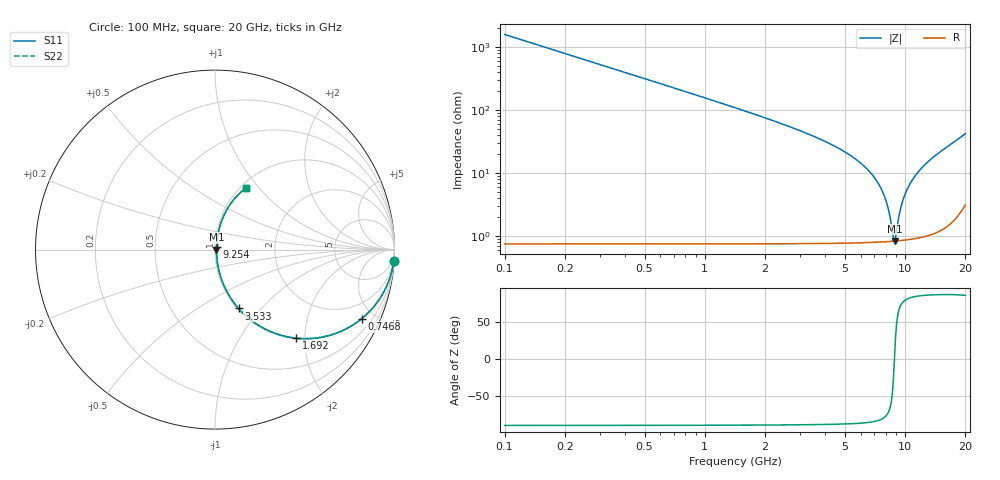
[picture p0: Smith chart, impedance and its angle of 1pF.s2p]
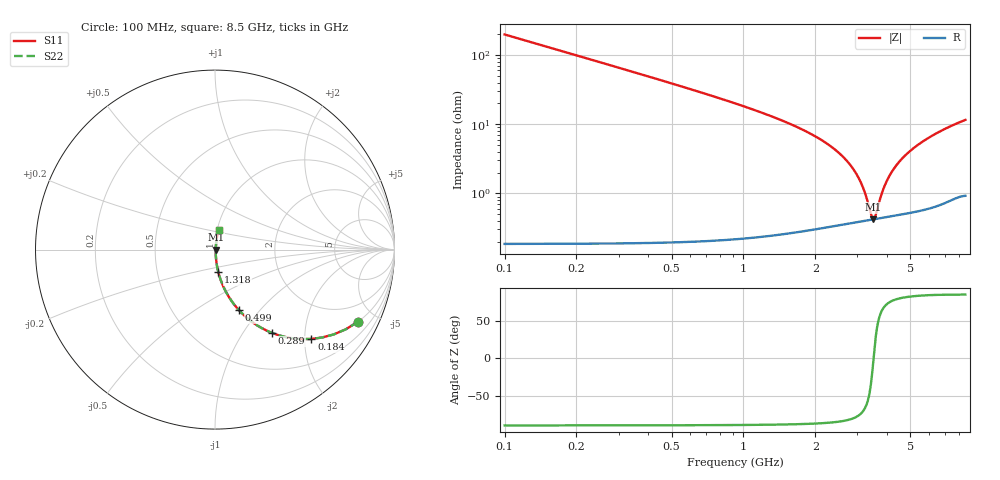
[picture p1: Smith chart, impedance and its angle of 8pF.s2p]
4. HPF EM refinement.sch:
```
<Qucs Schematic 24.2.1>
<Properties>
  <View=-260,-75,1694,1055,1.16613,688,141>
  <Grid=10,10,1>
  <DataSet=4. HPF EM refinement.dat>
  <DataDisplay=4. HPF EM refinement.dpl>
  <OpenDisplay=0>
  <Script=1. Ideal Lumped Components.m>
  <RunScript=0>
  <showFrame=3>
  <FrameText0=Lumped HPF 2 GHz>
  <FrameText1=Drawn By: Andrés Martínez Mera>
  <FrameText2=Date: 01/04/2024>
  <FrameText3=Revision:>
</Properties>
<Symbol>
</Symbol>
<Components>
  <SUBST RO4003C 1 330 790 -30 24 0 0 "3.55" 1 "508um" 1 "32um" 1 "0.027" 1 "1e-10" 1 "0" 1>
  <GND * 1 570 100 0 0 0 0>
  <Sub Line3 5 520 90 -10 -66 0 0 "CapLine.sch" 0>
  <GND * 1 470 100 0 0 0 0>
  <SPfile X2 5 470 70 -26 -19 0 0 "./Capacitors/1pF.s2p" 0 "rectangular" 0 "linear" 0 "open" 0 "2" 0>
  <Sub L3n5 1 440 320 64 -120 0 1 "L1.sch" 0>
  <SPfile X7 5 420 370 20 -26 0 3 "./Capacitors/8pF.s2p" 0 "rectangular" 0 "linear" 0 "open" 0 "2" 0>
  <GND * 1 390 480 0 0 0 3>
  <Sub Line7 5 440 420 -66 -10 0 1 "CapLine.sch" 0>
  <Sub GND1 1 360 670 0 4 0 0 "Ground.sch" 0>
  <.SP SP1 1 80 770 0 70 0 0 "lin" 1 "100MHz" 1 "5GHz" 1 "201" 1 "no" 0 "1" 0 "2" 0 "no" 0 "no" 0>
  <Eqn Eqn1 1 110 640 -28 15 0 0 "dBS21=dB(S[2,1])" 1 "dBS11=dB(S[1,1])" 1 "yes" 0>
  <Sub Line1 1 80 90 -10 -66 0 0 "Line.sch" 0>
  <GND * 1 250 100 0 0 0 0>
  <SPfile X1 5 250 70 -26 -19 0 0 "./Capacitors/2p2.s2p" 0 "rectangular" 0 "linear" 0 "open" 0 "2" 0>
  <GND * 1 350 100 0 0 0 0>
  <Sub Line2 5 300 90 -10 -66 0 0 "CapLine.sch" 0>
  <Pac P1 1 60 170 18 -26 0 1 "1" 1 "50 Ohm" 1 "0 dBm" 0 "1 GHz" 0 "26.85" 0 "true" 0>
  <GND * 1 60 200 0 0 0 0>
  <MTEE MS1 5 420 70 -26 -105 0 0 "RO4003C" 0 "0.2 mm" 0 "0.2 mm" 0 "0.2 mm" 0 "Hammerstad" 0 "Kirschning" 0 "26.85" 0 "showNumbers" 0>
  <MTEE MS2 5 630 70 -26 -105 0 0 "RO4003C" 0 "0.2 mm" 0 "0.2 mm" 0 "0.2 mm" 0 "Hammerstad" 0 "Kirschning" 0 "26.85" 0 "showNumbers" 0>
  <GND * 1 810 100 0 0 0 0>
  <GND * 1 690 100 0 0 0 0>
  <SPfile X5 5 690 70 -26 -19 0 0 "./Capacitors/3p3.s2p" 0 "rectangular" 0 "linear" 0 "open" 0 "2" 0>
  <Sub Line4 5 750 90 -10 -66 0 0 "CapLine.sch" 0>
  <Sub Line5 1 880 90 -10 -66 0 0 "Line.sch" 0>
  <Pac P2 1 1060 130 18 -26 0 1 "2" 1 "50 Ohm" 1 "0 dBm" 0 "1 GHz" 0 "26.85" 0 "true" 0>
  <GND * 1 1060 160 0 0 0 0>
  <GND * 1 600 360 0 0 0 3>
  <SPfile X8 5 630 360 20 -26 0 3 "./Capacitors/3p3.s2p" 0 "rectangular" 0 "linear" 0 "open" 0 "2" 0>
  <GND * 1 600 490 0 0 0 3>
  <Sub Line6 5 650 430 -66 -10 0 1 "CapLine.sch" 0>
  <Sub L5n5 1 650 310 64 -120 0 1 "L2.sch" 0>
  <Pac P3 1 520 910 18 -26 0 1 "3" 1 "50 Ohm" 1 "0 dBm" 0 "1 GHz" 0 "26.85" 0 "true" 0>
  <GND * 1 520 940 0 0 0 0>
  <Pac P4 1 880 910 18 -26 0 1 "4" 1 "50 Ohm" 1 "0 dBm" 0 "1 GHz" 0 "26.85" 0 "true" 0>
  <GND * 1 880 940 0 0 0 0>
  <Eqn Eqn2 1 1020 840 -28 15 0 0 "dBS21_Ideal=dB(S[4,3])" 1 "dBS11_Ideal=dB(S[3,3])" 1 "yes" 0>
  <SPfile X9 5 630 490 20 -26 0 3 "./Capacitors/5pF.s2p" 0 "rectangular" 0 "linear" 0 "open" 0 "2" 0>
  <SPfile X10 5 570 70 -26 -19 0 0 "./Capacitors/100pF.s2p" 0 "rectangular" 0 "linear" 0 "open" 0 "2" 0>
  <SPfile X4 5 350 70 -26 -19 0 0 "./Capacitors/5pF.s2p" 0 "rectangular" 0 "linear" 0 "open" 0 "2" 0>
  <SPfile X6 5 810 70 -26 -19 0 0 "./Capacitors/10pF.s2p" 0 "rectangular" 0 "linear" 0 "open" 0 "2" 0>
  <SPfile X11 5 420 480 20 -26 0 3 "./Capacitors/15pF.s2p" 0 "rectangular" 0 "linear" 0 "open" 0 "2" 0>
  <GND * 1 390 370 0 0 0 3>
  <Sub HPF_2GHz_Ideal 1 640 880 -1 -154 0 0 "Ideal_HPF.sch" 0>
</Components>
<Wires>
  <420 100 420 130 "" 0 0 0 "">
  <440 70 450 70 "" 0 0 0 "">
  <380 70 390 70 "" 0 0 0 "">
  <60 70 60 140 "" 0 0 0 "">
  <720 70 730 70 "" 0 0 0 "">
  <1060 70 1060 100 "" 0 0 0 "">
  <1020 70 1060 70 "" 0 0 0 "">
  <630 100 630 120 "" 0 0 0 "">
  <630 390 630 410 "" 0 0 0 "">
  <620 520 630 520 "" 0 0 0 "">
  <630 450 630 460 "" 0 0 0 "">
  <840 70 860 70 "" 0 0 0 "">
  <770 70 780 70 "" 0 0 0 "">
  <420 510 420 520 "" 0 0 0 "">
  <420 440 420 450 "" 0 0 0 "">
  <880 820 880 880 "" 0 0 0 "">
  <780 820 880 820 "" 0 0 0 "">
  <520 820 520 880 "" 0 0 0 "">
  <520 820 610 820 "" 0 0 0 "">
</Wires>
<Diagrams>
  <Rect 880 610 507 346 3 #c0c0c0 1 00 1 0 5e+08 5e+09 0 -50 5 0 1 -1 0.5 1 315 0 225 1 0 0 "" "" "">
	<"dBS11" #0000ff 0 3 0 0 0>
	<"dBS21" #ff0000 0 3 0 0 0>
	  <Mkr 1.9865e+09 239 -311 3 0 0>
	  <Mkr 4.02e+09 385 -314 3 0 0>
	<"dBS21_Ideal" #000000 0 3 0 0 0>
  </Rect>
</Diagrams>
<Paintings>
  <Text 551 33 12 #000000 0 "100 pF">
  <Text 451 33 12 #000000 0 "1 pF">
  <Text 450 360 12 #000000 0 "8 pF">
  <Text 441 473 12 #000000 0 "15 pF">
  <Text 230 30 12 #000000 0 "2.2 pF">
  <Text 790 30 12 #000000 0 "10 pF">
  <Text 670 30 12 #000000 0 "3.3 pF">
  <Text 670 480 12 #000000 0 "5 pF">
  <Text 670 350 12 #000000 0 "3.3 pF">
  <Text 330 30 12 #000000 0 "5 pF">
  <Rectangle 300 340 200 190 #000000 3 2 #c0c0c0 1 0>
  <Rectangle 570 340 170 200 #000000 3 2 #c0c0c0 1 0>
  <Text 650 420 12 #000000 0 "C_{eq} = 2 pF">
  <Text 320 410 12 #000000 0 "C_{eq} = 5.2 pF">
</Paintings>
```
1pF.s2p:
!Murata Part Number: GRM0335C1E1R0WA01
!These Parameters are Measured in Series Mode Connection
!  o--ll--o
!Port1  Port2
!  o------o
!Operation Temp=25[degC], DC Bias Voltage=0[V]
!Freq. Start=100[MHz] Stop=20[GHz], 401[Steps]
!Data Generated on Jan 10, 2017
# Hz S RI R 50
!Freq.(Hz) S11(Real) S11(Imag) S21(Real) S21(Imag) S12(Real) S12(Imag) S22(Real) S22(Imag)
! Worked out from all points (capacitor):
!   401 points, 100 MHz to 20 GHz, reference 50 ohm
!   read as one part in series: C = 1 pF near 199.5 MHz
!   lowest |Z| = 840 mohm at 8.856 GHz (marker M1)
!   series resonance near 8.845 GHz, so ESL is about 320 pH
!   S11 on the Smith chart (normalised r, x): 100 MHz: 1, -32; 746.8 MHz: 1.02, -4.23; 1.692 GHz: 1.02, -1.81; 3.533 GHz: 1.02, -0.76; 9.254 GHz: 1.02, +0.03; 20 GHz: 1.06, +0.85
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1e8  0.996 -0.0626  0.00396 0.0626  0.00396 0.0626  0.996 -0.0626
3.985e8  0.9404 -0.2358  0.0596 0.2358  0.0596 0.2358  0.9404 -0.2358
7.4675e8  0.8166 -0.3852  0.1834 0.3852  0.1834 0.3852  0.8166 -0.3852
1.692e9  0.4518 -0.4935  0.5482 0.4935  0.5482 0.4935  0.4518 -0.4935
3.53275e9  0.1312 -0.3277  0.8688 0.3277  0.8688 0.3277  0.1312 -0.3277
7.264e9  0.0131 -0.071  0.9869 0.071  0.9869 0.071  0.0131 -0.071
8.856e9  0.00832 0.000444  0.9917 -0.000444  0.9917 -0.000444  0.00832 0.000444
9.254e9  0.0087 0.0165  0.9913 -0.0165  0.9913 -0.0165  0.0087 0.0165
1.005e10  0.0109 0.0468  0.9891 -0.0468  0.9891 -0.0468  0.0109 0.0468
1.318425e10  0.0339 0.1511  0.9661 -0.1511  0.9661 -0.1511  0.0339 0.1511
2e10  0.1715 0.3418  0.8285 -0.3418  0.8285 -0.3418  0.1715 0.3418
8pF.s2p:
!Murata Part Number: GRM0335C1E8R0CA01
!These Parameters are Measured in Series Mode Connection
!  o--ll--o
!Port1  Port2
!  o------o
!Operation Temp=25[degC], DC Bias Voltage=0[V]
!Freq. Start=100[MHz] Stop=8.5[GHz], 401[Steps]
!Data Generated on Jan 10, 2018
# Hz S RI R 50
!Freq.(Hz) S11(Real) S11(Imag) S21(Real) S21(Imag) S12(Real) S12(Imag) S22(Real) S22(Imag)
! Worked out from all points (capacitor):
!   401 points, 100 MHz to 8.5 GHz, reference 50 ohm
!   read as one part in series: C = 8 pF near 142 MHz
!   lowest |Z| = 421 mohm at 3.502 GHz (marker M1)
!   series resonance near 3.507 GHz, so ESL is about 260 pH
!   S11 on the Smith chart (normalised r, x): 100 MHz: 1.00, -3.98; 184 MHz: 1.00, -2.16; 289 MHz: 1.00, -1.37; 499 MHz: 1.00, -0.78; 1.318 GHz: 1.00, -0.26; 8.5 GHz: 1.02, +0.23
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1e8  0.7978 -0.4012  0.2022 0.4012  0.2022 0.4012  0.7978 -0.4012
1.84e8  0.5375 -0.4977  0.4625 0.4977  0.4625 0.4977  0.5375 -0.4977
2.89e8  0.3189 -0.4647  0.6811 0.4647  0.6811 0.4647  0.3189 -0.4647
4.99e8  0.1335 -0.3376  0.8665 0.3376  0.8665 0.3376  0.1335 -0.3376
1.318e9  0.0187 -0.1264  0.9813 0.1264  0.9813 0.1264  0.0187 -0.1264
2.788e9  0.00433 -0.0258  0.9957 0.0258  0.9957 0.0258  0.00433 -0.0258
3.502e9  0.00419 -0.000154  0.9958 0.000154  0.9958 0.000154  0.00419 -0.000154
3.901e9  0.00461 0.0119  0.9954 -0.0119  0.9954 -0.0119  0.00461 0.0119
4.3e9  0.00526 0.0229  0.9947 -0.0229  0.9947 -0.0229  0.00526 0.0229
5.791e9  0.00926 0.0586  0.9907 -0.0586  0.9907 -0.0586  0.00926 0.0586
8.5e9  0.0219 0.1116  0.9781 -0.1116  0.9781 -0.1116  0.0219 0.1116
